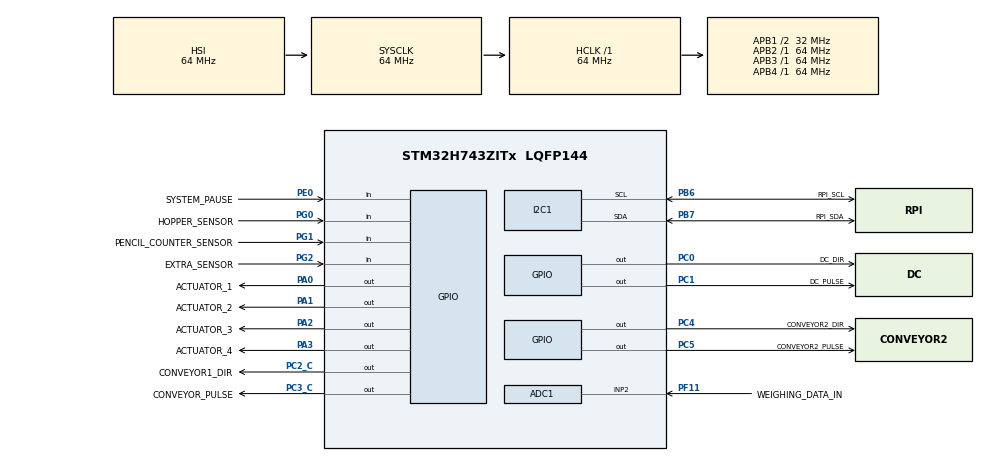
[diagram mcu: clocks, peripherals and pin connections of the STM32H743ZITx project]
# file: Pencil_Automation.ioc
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ADC1.Channel-0\#ChannelRegularConversion=ADC_CHANNEL_2
ADC1.NbrOfConversionFlag=1
ADC1.OffsetNumber-0\#ChannelRegularConversion=ADC_OFFSET_NONE
ADC1.OffsetSignedSaturation-0\#ChannelRegularConversion=DISABLE
ADC1.Rank-0\#ChannelRegularConversion=1
ADC1.SamplingTime-0\#ChannelRegularConversion=ADC_SAMPLETIME_1CYCLE_5
ADC1.master=1
CORTEX_M7.default_mode_Activation=1
I2C1.Timing=0x00707CBB
Mcu.Family=STM32H7
Mcu.Name=STM32H743ZITx
Mcu.Package=LQFP144
NVIC.PriorityGroup=NVIC_PRIORITYGROUP_4
PA0.GPIO_Label=ACTUATOR_1
PA0.Signal=GPIO_Output
PA1.GPIO_Label=ACTUATOR_2
PA1.Signal=GPIO_Output
PA2.GPIO_Label=ACTUATOR_3
PA2.Signal=GPIO_Output
PA3.GPIO_Label=ACTUATOR_4
PA3.Signal=GPIO_Output
PB6.GPIO_Label=RPI_SCL
PB6.Mode=I2C
PB6.Signal=I2C1_SCL
PB7.GPIO_Label=RPI_SDA
PB7.Mode=I2C
PB7.Signal=I2C1_SDA
PC0.GPIO_Label=DC_DIR
PC0.Signal=GPIO_Output
PC1.GPIO_Label=DC_PULSE
PC1.Signal=GPIO_Output
PC2_C.GPIO_Label=CONVEYOR1_DIR
PC2_C.Signal=GPIO_Output
PC3_C.GPIO_Label=CONVEYOR_PULSE
PC3_C.Signal=GPIO_Output
PC4.GPIO_Label=CONVEYOR2_DIR
PC4.Signal=GPIO_Output
PC5.GPIO_Label=CONVEYOR2_PULSE
PC5.Signal=GPIO_Output
PE0.GPIO_Label=SYSTEM_PAUSE
PE0.Signal=GPIO_Input
PF11.GPIO_Label=WEIGHING_DATA_IN
PF11.Mode=IN2-Single-Ended
PF11.Signal=ADC1_INP2
PG0.GPIO_Label=HOPPER_SENSOR
PG0.Signal=GPIO_Input
PG1.GPIO_Label=PENCIL_COUNTER_SENSOR
PG1.Signal=GPIO_Input
PG2.GPIO_Label=EXTRA_SENSOR
PG2.Signal=GPIO_Input
ProjectManager.HeapSize=0x200
ProjectManager.StackSize=0x400
ProjectManager.TargetToolchain=STM32CubeIDE
RCC.ADCFreq_Value=80000000
RCC.APB1Freq_Value=32000000
RCC.APB2Freq_Value=64000000
RCC.APB3Freq_Value=64000000
RCC.APB4Freq_Value=64000000
RCC.CortexFreq_Value=64000000
RCC.D2PPRE1=RCC_APB1_DIV2
RCC.DIVM2=4
RCC.DIVN2=10
RCC.HCLKFreq_Value=64000000
RCC.PLL2FRACN=0
RCC.SYSCLKFreq_VALUE=64000000
RCC.USBFreq_Value=129000000
VP_MEMORYMAP_VS_MEMORYMAP.Mode=CurAppReg
board=custom

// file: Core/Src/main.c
/* USER CODE BEGIN Header */
/**
  ******************************************************************************
  * @file           : main.c
  * @brief          : Main program body
  ******************************************************************************
  * @attention
  *
  * Copyright (c) 2024 STMicroelectronics.
  * All rights reserved.
  *
  * This software is licensed under terms that can be found in the LICENSE file
  * in the root directory of this software component.
  * If no LICENSE file comes with this software, it is provided AS-IS.
  *
  ******************************************************************************
  */
/* USER CODE END Header */
#include "pencil_lib.h"

/* USER CODE BEGIN PM */
#define RPI_ADDRESS  0x04
/* USER CODE END PM */

ADC_HandleTypeDef hadc1;

I2C_HandleTypeDef hi2c1;

void SystemClock_Config(void);
static void MPU_Config(void);
static void MX_GPIO_Init(void);
static void MX_ADC1_Init(void);
static void MX_I2C1_Init(void);

int main(void)
{

  /* MPU Configuration--------------------------------------------------------*/
  MPU_Config();

  /* MCU Configuration--------------------------------------------------------*/

  /* Reset of all peripherals, Initializes the Flash interface and the Systick. */
  HAL_Init();

  /* Configure the system clock */
  SystemClock_Config();

  /* Initialize all configured peripherals */
  MX_GPIO_Init();
  MX_ADC1_Init();
  MX_I2C1_Init();
  /* USER CODE BEGIN 2 */
  HAL_ADC_Start(&hadc1);
  /* USER CODE END 2 */

  /* Infinite loop */
  while (1)
  {

    /* USER CODE BEGIN 3 */
	  switch (currentState)
	  {
		  case MACHINE_STATUS:
			  Machine_Status();		//Diagnostic stage : test all the sensor input is down or not, check actuctor move slightly back-forth
			  	  	  	  	  	  	//If these thing happen then move to MACHINE_STATUS to HOPPER
			  break;
		  case HOPPER:				//This state is responsable to check the hopper is filled or not if filled then rotatry DC motor start
			  	  	  	  	  	  	//rotating jump to HOPPER to ROTARY_ACTUATOR else HOPPER to FAULT_TRIGGER
			  Hopper();
			  break;
		  case ROTARY_ACTUATOR:		//This state is set count to 0 for no of pencils. and move state to COUNTER_BOX
			  Rotary_Actuator();
			  break;
		  case COUNTER_BOX:			//increment the counter based on counter sensor. if count reach to FIXED_NO then ACTUACTOR trigger to drop
			  	  	  	  	  	    // pencil and change the state from COUNTER_BOX to CONVEYOR_BELT
			  Counter_Box();
			  break;
		  case CONVEYOR_BELT:	    //in this state conveyor motor is continuosly moving with the fixed steps then change the state from CONVEYOR to WEIGHING
			  Conveyor_Belt();
			  break;
		  case WEIGHING_MACHINE:	//in this state read the weighing weight approx with 2% of margin. if calculated weight is matched with real_wgt then
			  	  	  	  	  	    //move to PACKING_CONVEYOR otherwise move to WASTE_CONTAINER
			  HAL_ADC_PollForConversion(&hadc1, 100);
			  Weighing_Machine(HAL_ADC_GetValue(&hadc1));
			  break;
		  case PACKING_CONVEYOR:	//In this state, Pencils bundle pushing it the pencil box by pneumatic piston and conveyor 2 moves and drop the pencil
			  	  	  	  	  	    //bundle to final container. Move to FINAL_CONTAINER
			  Packing_Conveyor();
			  break;
		  case FINAL_CONTAINER:		//in this state, Reset all the values and set the state machine variable to HOPPER
			  Final_Container();
			  break;
		  case FAULT_TRIGGER:		//In this state, Fault triggered and send string to RPI with touch panel
			  if(Fault_Trigger() == 1)
				  HAL_I2C_Master_Transmit(&hi2c1, RPI_ADDRESS, "Fault Triggered!!", (sizeof(uint8_t)*18), 100);
			  break;
		  case WASTE_CONTAINER:
			  Waste_Container(); //if weighing weight values are different then pencil bundle drop in waste container and set the state machine variable to HOPPER
			  break;
		  default:
			  break;
	  }
  }
  /* USER CODE END 3 */
}

void SystemClock_Config(void)
{
  RCC_OscInitTypeDef RCC_OscInitStruct = {0};
  RCC_ClkInitTypeDef RCC_ClkInitStruct = {0};

  /** Supply configuration update enable
  */
  HAL_PWREx_ConfigSupply(PWR_LDO_SUPPLY);

  /** Configure the main internal regulator output voltage
  */
  __HAL_PWR_VOLTAGESCALING_CONFIG(PWR_REGULATOR_VOLTAGE_SCALE3);

  while(!__HAL_PWR_GET_FLAG(PWR_FLAG_VOSRDY)) {}

  /** Macro to configure the PLL clock source
  */
  __HAL_RCC_PLL_PLLSOURCE_CONFIG(RCC_PLLSOURCE_HSI);

  /** Initializes the RCC Oscillators according to the specified parameters
  * in the RCC_OscInitTypeDef structure.
  */
  RCC_OscInitStruct.OscillatorType = RCC_OSCILLATORTYPE_HSI;
  RCC_OscInitStruct.HSIState = RCC_HSI_DIV1;
  RCC_OscInitStruct.HSICalibrationValue = RCC_HSICALIBRATION_DEFAULT;
  RCC_OscInitStruct.PLL.PLLState = RCC_PLL_NONE;
  if (HAL_RCC_OscConfig(&RCC_OscInitStruct) != HAL_OK)
  {
    Error_Handler();
  }

  /** Initializes the CPU, AHB and APB buses clocks
  */
  RCC_ClkInitStruct.ClockType = RCC_CLOCKTYPE_HCLK|RCC_CLOCKTYPE_SYSCLK
                              |RCC_CLOCKTYPE_PCLK1|RCC_CLOCKTYPE_PCLK2
                              |RCC_CLOCKTYPE_D3PCLK1|RCC_CLOCKTYPE_D1PCLK1;
  RCC_ClkInitStruct.SYSCLKSource = RCC_SYSCLKSOURCE_HSI;
  RCC_ClkInitStruct.SYSCLKDivider = RCC_SYSCLK_DIV1;
  RCC_ClkInitStruct.AHBCLKDivider = RCC_HCLK_DIV1;
  RCC_ClkInitStruct.APB3CLKDivider = RCC_APB3_DIV1;
  RCC_ClkInitStruct.APB1CLKDivider = RCC_APB1_DIV2;
  RCC_ClkInitStruct.APB2CLKDivider = RCC_APB2_DIV1;
  RCC_ClkInitStruct.APB4CLKDivider = RCC_APB4_DIV1;

  if (HAL_RCC_ClockConfig(&RCC_ClkInitStruct, FLASH_LATENCY_1) != HAL_OK)
  {
    Error_Handler();
  }
}

static void MX_ADC1_Init(void)
{

  ADC_MultiModeTypeDef multimode = {0};
  ADC_ChannelConfTypeDef sConfig = {0};

  /** Common config
  */
  hadc1.Instance = ADC1;
  hadc1.Init.ScanConvMode = ADC_SCAN_DISABLE;
  hadc1.Init.EOCSelection = ADC_EOC_SINGLE_CONV;
  hadc1.Init.LowPowerAutoWait = DISABLE;
  hadc1.Init.ContinuousConvMode = DISABLE;
  hadc1.Init.NbrOfConversion = 1;
  hadc1.Init.DiscontinuousConvMode = DISABLE;
  hadc1.Init.ExternalTrigConv = ADC_SOFTWARE_START;
  hadc1.Init.ExternalTrigConvEdge = ADC_EXTERNALTRIGCONVEDGE_NONE;
  hadc1.Init.ConversionDataManagement = ADC_CONVERSIONDATA_DR;
  hadc1.Init.Overrun = ADC_OVR_DATA_PRESERVED;
  hadc1.Init.LeftBitShift = ADC_LEFTBITSHIFT_NONE;
  hadc1.Init.OversamplingMode = DISABLE;
  hadc1.Init.Oversampling.Ratio = 1;
  if (HAL_ADC_Init(&hadc1) != HAL_OK)
  {
    Error_Handler();
  }
  hadc1.Init.ClockPrescaler = ADC_CLOCK_ASYNC_DIV2;
  hadc1.Init.Resolution = ADC_RESOLUTION_16B;
  if (HAL_ADC_Init(&hadc1) != HAL_OK)
  {
    Error_Handler();
  }

  /** Configure the ADC multi-mode
  */
  multimode.Mode = ADC_MODE_INDEPENDENT;
  if (HAL_ADCEx_MultiModeConfigChannel(&hadc1, &multimode) != HAL_OK)
  {
    Error_Handler();
  }

  /** Configure Regular Channel
  */
  sConfig.Channel = ADC_CHANNEL_2;
  sConfig.Rank = ADC_REGULAR_RANK_1;
  sConfig.SamplingTime = ADC_SAMPLETIME_1CYCLE_5;
  sConfig.SingleDiff = ADC_SINGLE_ENDED;
  sConfig.OffsetNumber = ADC_OFFSET_NONE;
  sConfig.Offset = 0;
  sConfig.OffsetSignedSaturation = DISABLE;
  if (HAL_ADC_ConfigChannel(&hadc1, &sConfig) != HAL_OK)
  {
    Error_Handler();
  }

}

static void MX_I2C1_Init(void)
{

  hi2c1.Instance = I2C1;
  hi2c1.Init.Timing = 0x00707CBB;
  hi2c1.Init.OwnAddress1 = 0;
  hi2c1.Init.AddressingMode = I2C_ADDRESSINGMODE_7BIT;
  hi2c1.Init.DualAddressMode = I2C_DUALADDRESS_DISABLE;
  hi2c1.Init.OwnAddress2 = 0;
  hi2c1.Init.OwnAddress2Masks = I2C_OA2_NOMASK;
  hi2c1.Init.GeneralCallMode = I2C_GENERALCALL_DISABLE;
  hi2c1.Init.NoStretchMode = I2C_NOSTRETCH_DISABLE;
  if (HAL_I2C_Init(&hi2c1) != HAL_OK)
  {
    Error_Handler();
  }

  /** Configure Analogue filter
  */
  if (HAL_I2CEx_ConfigAnalogFilter(&hi2c1, I2C_ANALOGFILTER_ENABLE) != HAL_OK)
  {
    Error_Handler();
  }

  /** Configure Digital filter
  */
  if (HAL_I2CEx_ConfigDigitalFilter(&hi2c1, 0) != HAL_OK)
  {
    Error_Handler();
  }

}

static void MX_GPIO_Init(void)
{
  GPIO_InitTypeDef GPIO_InitStruct = {0};

  /* GPIO Ports Clock Enable */
  __HAL_RCC_GPIOC_CLK_ENABLE();
  __HAL_RCC_GPIOA_CLK_ENABLE();
  __HAL_RCC_GPIOF_CLK_ENABLE();
  __HAL_RCC_GPIOG_CLK_ENABLE();
  __HAL_RCC_GPIOB_CLK_ENABLE();
  __HAL_RCC_GPIOE_CLK_ENABLE();

  /*Configure GPIO pin Output Level */
  HAL_GPIO_WritePin(GPIOC, DC_DIR_Pin|DC_PULSE_Pin|CONVEYOR1_DIR_Pin|CONVEYOR_PULSE_Pin
                          |CONVEYOR2_DIR_Pin|CONVEYOR2_PULSE_Pin, GPIO_PIN_RESET);

  /*Configure GPIO pin Output Level */
  HAL_GPIO_WritePin(GPIOA, ACTUATOR_1_Pin|ACTUATOR_2_Pin|ACTUATOR_3_Pin|ACTUATOR_4_Pin, GPIO_PIN_RESET);

  /*Configure GPIO pins : DC_DIR_Pin DC_PULSE_Pin CONVEYOR1_DIR_Pin CONVEYOR_PULSE_Pin
                           CONVEYOR2_DIR_Pin CONVEYOR2_PULSE_Pin */
  GPIO_InitStruct.Pin = DC_DIR_Pin|DC_PULSE_Pin|CONVEYOR1_DIR_Pin|CONVEYOR_PULSE_Pin
                          |CONVEYOR2_DIR_Pin|CONVEYOR2_PULSE_Pin;
  GPIO_InitStruct.Mode = GPIO_MODE_OUTPUT_PP;
  GPIO_InitStruct.Pull = GPIO_NOPULL;
  GPIO_InitStruct.Speed = GPIO_SPEED_FREQ_LOW;
  HAL_GPIO_Init(GPIOC, &GPIO_InitStruct);

  /*Configure GPIO pins : ACTUATOR_1_Pin ACTUATOR_2_Pin ACTUATOR_3_Pin ACTUATOR_4_Pin */
  GPIO_InitStruct.Pin = ACTUATOR_1_Pin|ACTUATOR_2_Pin|ACTUATOR_3_Pin|ACTUATOR_4_Pin;
  GPIO_InitStruct.Mode = GPIO_MODE_OUTPUT_PP;
  GPIO_InitStruct.Pull = GPIO_NOPULL;
  GPIO_InitStruct.Speed = GPIO_SPEED_FREQ_LOW;
  HAL_GPIO_Init(GPIOA, &GPIO_InitStruct);

  /*Configure GPIO pins : HOPPER_SENSOR_Pin PENCIL_COUNTER_SENSOR_Pin EXTRA_SENSOR_Pin */
  GPIO_InitStruct.Pin = HOPPER_SENSOR_Pin|PENCIL_COUNTER_SENSOR_Pin|EXTRA_SENSOR_Pin;
  GPIO_InitStruct.Mode = GPIO_MODE_INPUT;
  GPIO_InitStruct.Pull = GPIO_NOPULL;
  HAL_GPIO_Init(GPIOG, &GPIO_InitStruct);

  /*Configure GPIO pin : SYSTEM_PAUSE_Pin */
  GPIO_InitStruct.Pin = SYSTEM_PAUSE_Pin;
  GPIO_InitStruct.Mode = GPIO_MODE_INPUT;
  GPIO_InitStruct.Pull = GPIO_NOPULL;
  HAL_GPIO_Init(SYSTEM_PAUSE_GPIO_Port, &GPIO_InitStruct);

}

 /* MPU Configuration */

void MPU_Config(void)
{
  MPU_Region_InitTypeDef MPU_InitStruct = {0};

  /* Disables the MPU */
  HAL_MPU_Disable();

  /** Initializes and configures the Region and the memory to be protected
  */
  MPU_InitStruct.Enable = MPU_REGION_ENABLE;
  MPU_InitStruct.Number = MPU_REGION_NUMBER0;
  MPU_InitStruct.BaseAddress = 0x0;
  MPU_InitStruct.Size = MPU_REGION_SIZE_4GB;
  MPU_InitStruct.SubRegionDisable = 0x87;
  MPU_InitStruct.TypeExtField = MPU_TEX_LEVEL0;
  MPU_InitStruct.AccessPermission = MPU_REGION_NO_ACCESS;
  MPU_InitStruct.DisableExec = MPU_INSTRUCTION_ACCESS_DISABLE;
  MPU_InitStruct.IsShareable = MPU_ACCESS_SHAREABLE;
  MPU_InitStruct.IsCacheable = MPU_ACCESS_NOT_CACHEABLE;
  MPU_InitStruct.IsBufferable = MPU_ACCESS_NOT_BUFFERABLE;

  HAL_MPU_ConfigRegion(&MPU_InitStruct);
  /* Enables the MPU */
  HAL_MPU_Enable(MPU_PRIVILEGED_DEFAULT);

}

void Error_Handler(void)
{
  __disable_irq();
  while (1)
  {
  }
}
